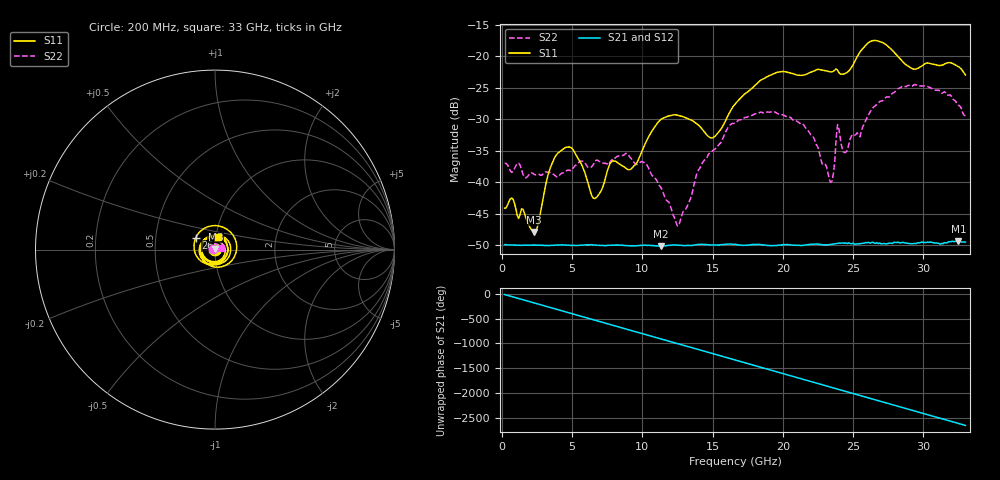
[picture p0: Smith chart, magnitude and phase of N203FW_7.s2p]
# GHZ S RI R 50
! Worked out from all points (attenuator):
!   329 points, 200 MHz to 33 GHz, reference 50 ohm
!   highest |S21| = -49.39 dB at 32.5 GHz (marker M1); lowest = -50.2 dB at 11.3 GHz (marker M2)
!   lowest |S11| = -47.9 dB at 2.3 GHz (marker M3), VSWR 1.01, Z = 50.2 + j0.355 ohm
!   |S11| at or under -10 dB: start of sweep to end of sweep
!   |S22| runs from -47.0 to -24.5 dB; largest |S21 - S12| = 8.7e-05
!   S11 on the Smith chart (normalised r, x): 200 MHz: 1.01, -0.00; 26 GHz: 0.80, +0.11; 33 GHz: 1.03, +0.14
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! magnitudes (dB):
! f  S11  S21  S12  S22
! 200 MHz  -44.2  -50.0  -49.9  -37.0
! 800 MHz  -42.7  -50.0  -50.0  -38.3
! 2.3 GHz  -47.9  -50.0  -50.0  -38.8
! 3.9 GHz  -35.6  -50.0  -50.0  -39.2
! 5.7 GHz  -37.3  -50.0  -50.0  -36.7
! 6.7 GHz  -42.5  -50.0  -50.0  -36.5
! 7.8 GHz  -36.8  -50.0  -50.0  -36.5
! 8.9 GHz  -37.9  -50.1  -50.1  -35.4
! 11.2 GHz  -30.3  -50.2  -50.2  -40.5
! 11.3 GHz  -30.1  -50.2  -50.2  -40.8
! 12.6 GHz  -29.4  -50.0  -50.0  -46.9
! 15 GHz  -33.0  -50.0  -50.0  -35.0
! 16.6 GHz  -27.6  -49.9  -49.9  -30.6
! 19.4 GHz  -22.7  -50.1  -50.1  -28.8
! 22.1 GHz  -22.4  -49.9  -49.8  -32.6
! 23.4 GHz  -22.5  -49.9  -49.9  -40.0
! 23.9 GHz  -22.2  -49.8  -49.8  -30.9
! 24.4 GHz  -22.8  -49.7  -49.6  -35.3
! 26 GHz  -18.0  -49.6  -49.6  -29.7
! 27.6 GHz  -18.6  -49.7  -49.7  -26.4
! 32.5 GHz  -21.6  -49.4  -49.4  -27.7
! 33 GHz  -22.9  -49.5  -49.6  -29.5
